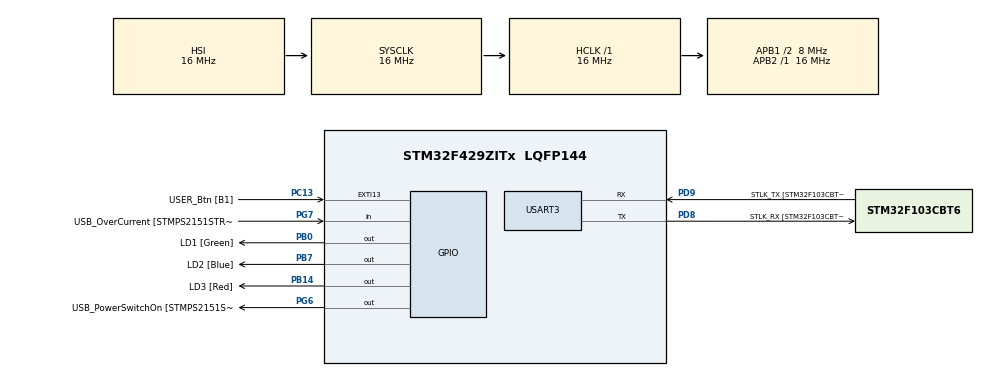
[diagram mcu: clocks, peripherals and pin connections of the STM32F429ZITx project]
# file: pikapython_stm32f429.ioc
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Mcu.Family=STM32F4
Mcu.Name=STM32F429ZITx
Mcu.Package=LQFP144
NVIC.PriorityGroup=NVIC_PRIORITYGROUP_4
PA1.GPIO_Label=RMII_REF_CLK [LAN8742A-CZ-TR_REFCLK0]
PA1.Signal=ETH_REF_CLK
PA10.GPIO_Label=USB_ID
PA10.Signal=USB_OTG_FS_ID
PA11.GPIO_Label=USB_DM
PA11.Signal=USB_OTG_FS_DM
PA12.GPIO_Label=USB_DP
PA12.Signal=USB_OTG_FS_DP
PA13.GPIO_Label=TMS
PA13.Signal=SYS_JTMS-SWDIO
PA14.GPIO_Label=TCK
PA14.Signal=SYS_JTCK-SWCLK
PA2.GPIO_Label=RMII_MDIO [LAN8742A-CZ-TR_MDIO]
PA2.Signal=ETH_MDIO
PA7.GPIO_Label=RMII_CRS_DV [LAN8742A-CZ-TR_CRS_DV]
PA7.Signal=ETH_CRS_DV
PA8.GPIO_Label=USB_SOF [TP1]
PA8.Signal=USB_OTG_FS_SOF
PA9.GPIO_Label=USB_VBUS
PA9.Signal=USB_OTG_FS_VBUS
PB0.GPIO_Label=LD1 [Green]
PB0.Signal=GPIO_Output
PB13.GPIO_Label=RMII_TXD1 [LAN8742A-CZ-TR_TXD1]
PB13.Signal=ETH_TXD1
PB14.GPIO_Label=LD3 [Red]
PB14.Signal=GPIO_Output
PB7.GPIO_Label=LD2 [Blue]
PB7.Signal=GPIO_Output
PC1.GPIO_Label=RMII_MDC [LAN8742A-CZ-TR_MDC]
PC1.Signal=ETH_MDC
PC13.GPIO_Label=USER_Btn [B1]
PC13.Signal=GPXTI13
PC14/OSC32_IN.Signal=RCC_OSC32_IN
PC15/OSC32_OUT.Signal=RCC_OSC32_OUT
PC4.GPIO_Label=RMII_RXD0 [LAN8742A-CZ-TR_RXD0]
PC4.Signal=ETH_RXD0
PC5.GPIO_Label=RMII_RXD1 [LAN8742A-CZ-TR_RXD1]
PC5.Signal=ETH_RXD1
PD8.GPIO_Label=STLK_RX [STM32F103CBT6_PA3]
PD8.Mode=Asynchronous
PD8.Signal=USART3_TX
PD9.GPIO_Label=STLK_TX [STM32F103CBT6_PA2]
PD9.Mode=Asynchronous
PD9.Signal=USART3_RX
PG11.GPIO_Label=RMII_TX_EN [LAN8742A-CZ-TR_TXEN]
PG11.Signal=ETH_TX_EN
PG13.GPIO_Label=RMII_TXD0 [LAN8742A-CZ-TR_TXD0]
PG13.Signal=ETH_TXD0
PG6.GPIO_Label=USB_PowerSwitchOn [STMPS2151STR_EN]
PG6.Signal=GPIO_Output
PG7.GPIO_Label=USB_OverCurrent [STMPS2151STR_FAULT]
PG7.Signal=GPIO_Input
PH0/OSC_IN.GPIO_Label=MCO [STM32F103CBT6_PA8]
PH0/OSC_IN.Signal=RCC_OSC_IN
PH1/OSC_OUT.Signal=RCC_OSC_OUT
ProjectManager.HeapSize=0x200
ProjectManager.StackSize=0x400
ProjectManager.TargetToolchain=Makefile
RCC.48MHZClocksFreq_Value=48000000
RCC.AHBFreq_Value=16000000
RCC.APB1CLKDivider=RCC_HCLK_DIV2
RCC.APB1Freq_Value=8000000
RCC.APB1TimFreq_Value=16000000
RCC.APB2Freq_Value=16000000
RCC.APB2TimFreq_Value=16000000
RCC.CortexFreq_Value=16000000
RCC.HCLKFreq_Value=16000000
RCC.HSE_VALUE=8000000
RCC.HSI_VALUE=16000000
RCC.LSE_VALUE=32768
RCC.PLLMUL=RCC_PLL_MUL9
RCC.PRESCALERUSB=RCC_USBCLKSOURCE_PLL_DIV1_5
RCC.SYSCLKFreq_VALUE=16000000
RCC.SYSCLKSourceVirtual=RCC_SYSCLKSOURCE_PLLCLK
RCC.USBFreq_Value=48000000
RCC.VCOOutputFreq_Value=192000000
USART3.VirtualMode=VM_ASYNC
board=NUCLEO-F429ZI

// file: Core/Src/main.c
/* USER CODE BEGIN Header */
/**
  ******************************************************************************
  * @file           : main.c
  * @brief          : Main program body
  ******************************************************************************
  * @attention
  *
  * Copyright (c) 2024 STMicroelectronics.
  * All rights reserved.
  *
  * This software is licensed under terms that can be found in the LICENSE file
  * in the root directory of this software component.
  * If no LICENSE file comes with this software, it is provided AS-IS.
  *
  ******************************************************************************
  */
/* USER CODE END Header */
#include "main.h"
#include "usart.h"
#include "gpio.h"

/* USER CODE BEGIN Includes */
#include <stdio.h>
#include "pikaScript.h"
/* USER CODE END Includes */

void SystemClock_Config(void);

/* USER CODE BEGIN 0 */
int fputc(int ch, FILE *f);
int fgetc(FILE *f);
int pika_platform_putchar(char ch){
	return fputc(ch,(void*)1);
}
char pika_platform_getchar(void){
	return fgetc((void*)1);
}
/* USER CODE END 0 */

int main(void)
{

  /* MCU Configuration--------------------------------------------------------*/

  /* Reset of all peripherals, Initializes the Flash interface and the Systick. */
  HAL_Init();

  /* Configure the system clock */
  SystemClock_Config();

  /* Initialize all configured peripherals */
  MX_GPIO_Init();
  MX_USART3_UART_Init();
  /* USER CODE BEGIN 2 */
	printf("system init ok\r\n");
	pikaScriptShell(pikaScriptInit());
  /* USER CODE END 2 */

  /* Infinite loop */
  while (1)
  {

  }
}

void SystemClock_Config(void)
{
  RCC_OscInitTypeDef RCC_OscInitStruct = {0};
  RCC_ClkInitTypeDef RCC_ClkInitStruct = {0};

  /** Configure the main internal regulator output voltage
  */
  __HAL_RCC_PWR_CLK_ENABLE();
  __HAL_PWR_VOLTAGESCALING_CONFIG(PWR_REGULATOR_VOLTAGE_SCALE3);

  /** Initializes the RCC Oscillators according to the specified parameters
  * in the RCC_OscInitTypeDef structure.
  */
  RCC_OscInitStruct.OscillatorType = RCC_OSCILLATORTYPE_HSI;
  RCC_OscInitStruct.HSIState = RCC_HSI_ON;
  RCC_OscInitStruct.HSICalibrationValue = RCC_HSICALIBRATION_DEFAULT;
  RCC_OscInitStruct.PLL.PLLState = RCC_PLL_NONE;
  if (HAL_RCC_OscConfig(&RCC_OscInitStruct) != HAL_OK)
  {
    Error_Handler();
  }

  /** Initializes the CPU, AHB and APB buses clocks
  */
  RCC_ClkInitStruct.ClockType = RCC_CLOCKTYPE_HCLK|RCC_CLOCKTYPE_SYSCLK
                              |RCC_CLOCKTYPE_PCLK1|RCC_CLOCKTYPE_PCLK2;
  RCC_ClkInitStruct.SYSCLKSource = RCC_SYSCLKSOURCE_HSI;
  RCC_ClkInitStruct.AHBCLKDivider = RCC_SYSCLK_DIV1;
  RCC_ClkInitStruct.APB1CLKDivider = RCC_HCLK_DIV2;
  RCC_ClkInitStruct.APB2CLKDivider = RCC_HCLK_DIV1;

  if (HAL_RCC_ClockConfig(&RCC_ClkInitStruct, FLASH_LATENCY_0) != HAL_OK)
  {
    Error_Handler();
  }
}

/* USER CODE BEGIN 4 */
int fputc(int ch, FILE *f){
    HAL_UART_Transmit(&huart3,(uint8_t *)&ch, 1 , 0xffff);
    return ch;
}

int fgetc(FILE *f)
{
    uint8_t ch;
    while(1){
        if(HAL_OK == HAL_UART_Receive(&huart3, &ch, 1, 0)){
            return ch;
        }
    }
}
/* USER CODE END 4 */

void Error_Handler(void)
{
  __disable_irq();
  while (1)
  {
  }
}
